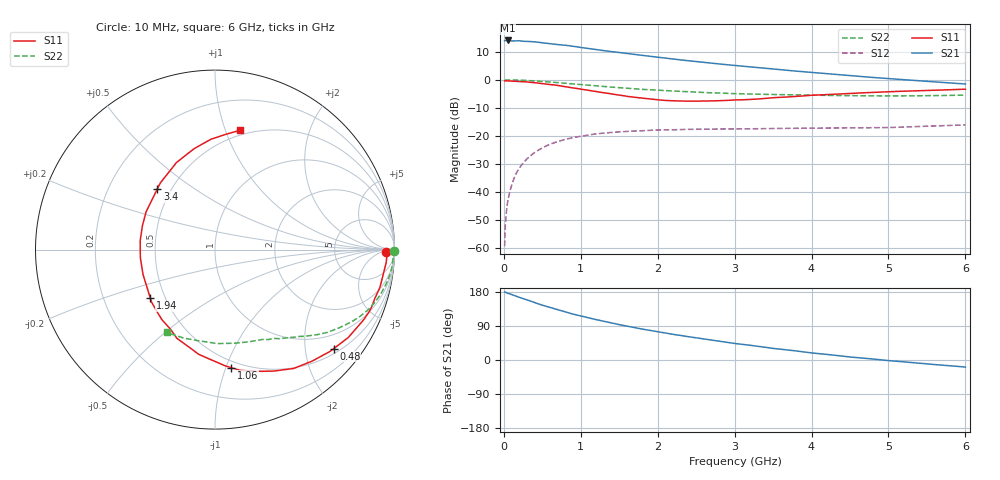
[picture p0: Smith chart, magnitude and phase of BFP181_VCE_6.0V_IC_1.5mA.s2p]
! Infineon Technologies  Discrete & RF Semiconductors
! BFP181
! VCE = 6.0 V,  IC =  1.5 mA
! Common Emitter S-Parameters:  Jan 2016
# GHz  S  MA  R  50
!  f  S11  S21  S12  S22
! GHz  MAG  ANG  MAG  ANG  MAG  ANG  MAG  ANG
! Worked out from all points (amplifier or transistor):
!   210 points, 10 MHz to 6 GHz, reference 50 ohm
!   highest |S21| = 14.0 dB at 50 MHz (marker M1)
!   |S21| within 3 dB of that: start of sweep to 1.141 GHz
!   unconditionally stable (mu >= 1): 2.808 GHz to end of sweep
!   at 185 MHz: K = 0.09, MSG = 23.0 dB, |S12| = -32.1 dB
!   at 1.52 GHz: K = 0.60, MSG = 14.1 dB, |S12| = -18.5 dB
!   at 6 GHz: K = 1.20, MAG = 4.6 dB, |S12| = -16.0 dB
!   S11 on the Smith chart (normalised r, x): 10 MHz: 37, -12; 480 MHz: 0.62, -2.64; 1.06 GHz: 0.44, -1.04; 1.94 GHz: 0.41, -0.28; 3.4 GHz: 0.42, +0.36; 6 GHz: 0.46, +1.13
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0.01  0.9527 -0.9  4.947 179.4  0.0011 85.6  0.9978 -0.3
0.015  0.9554 -1.4  4.967 179.2  0.0019 85.4  0.994 -0.5
0.025  0.9579 -2.2  4.99 178.5  0.0034 87.3  0.9909 -0.9
0.05  0.9568 -4.2  5.003 176.3  0.0068 91.2  0.9942 -2.0
0.11  0.9461 -9.3  4.907 172.1  0.0145 82.1  0.9925 -4.4
0.19  0.9333 -16.1  4.932 166.2  0.0255 79.2  0.9865 -7.4
0.4  0.8896 -33.4  4.75 151.3  0.051 69.0  0.9549 -15.3
0.48  0.8617 -39.8  4.582 146.1  0.0594 64.7  0.9389 -18.0
0.6  0.8241 -48.9  4.411 138.6  0.0715 59.3  0.914 -21.8
0.8  0.7528 -64.0  4.116 126.6  0.0873 51.4  0.866 -27.3
1.02  0.6787 -79.6  3.72 115.1  0.1003 43.6  0.8135 -32.6
1.06  0.6633 -82.3  3.663 113.1  0.1024 42.5  0.8053 -33.4
1.28  0.5945 -97.5  3.327 103.0  0.112 36.4  0.763 -37.7
1.5  0.5381 -113.2  3.067 93.3  0.1186 31.6  0.7222 -41.3
1.94  0.4507 -143.0  2.575 76.7  0.1269 23.8  0.66 -47.6
2.02  0.4376 -148.4  2.495 73.9  0.128 22.8  0.6515 -48.6
2.58  0.4187 174.5  2.053 56.1  0.1317 16.7  0.5952 -56.2
3.1  0.4408 146.7  1.747 41.4  0.1339 12.7  0.5619 -63.6
3.4  0.4664 133.5  1.596 33.5  0.1356 11.2  0.5506 -68.1
4.1  0.5374 111.2  1.315 16.8  0.138 8.1  0.5292 -80.7
5.1  0.6201 90.6  1.026 -3.2  0.1429 7.2  0.5162 -100.9
6  0.6797 78.0  0.841 -18.7  0.1577 6.4  0.5343 -120.2
